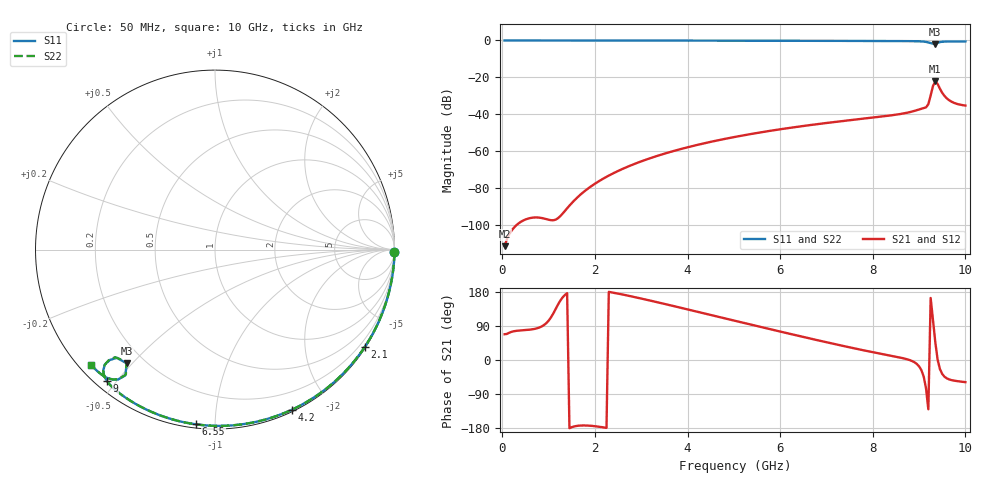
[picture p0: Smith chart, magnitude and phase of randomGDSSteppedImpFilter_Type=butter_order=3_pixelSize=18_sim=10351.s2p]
! freq	dB(S11)	phase(S11)	dB(S12)	phase(S12)
!  dB(S21)	phase(S21)	dB(S22)	phase(S22)
!S-par simulation data
#  GHz  S  DB  R 50
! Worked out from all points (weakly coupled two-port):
!   200 points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, 50 MHz to 10 GHz, reference 50 ohm
!   highest |S21| = -22.14 dB at 9.35 GHz (marker M1); lowest = -111.3 dB at 50 MHz (marker M2)
!   lowest |S11| = -1.9 dB at 9.35 GHz (marker M3), VSWR 9.11, Z = 6.79 - j24.1 ohm
!   |S11| at or under -10 dB: nowhere
!   |S22| runs from -2.0 to 0.0 dB; largest |S21 - S12| = 0
!   S11 on the Smith chart (normalised r, x): 50 MHz: open; 2.1 GHz: 0.03, -3.37; 4.2 GHz: 0.02, -1.59; 6.55 GHz: 0.02, -0.90; 9 GHz: 0.03, -0.47; 10 GHz: 0.03, -0.39
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0.05  -0.00 -0.8  -111.34 68.0  -111.34 68.0  -0.00 -0.8
0.9  -0.02 -14.4  -96.36 92.2  -96.36 92.2  -0.02 -14.4
1.75  -0.04 -27.7  -82.12 -172.7  -82.12 -172.7  -0.04 -27.7
1.85  -0.04 -29.2  -80.17 -173.1  -80.17 -173.1  -0.04 -29.2
2.1  -0.04 -33.1  -75.97 -176.3  -75.97 -176.3  -0.04 -33.1
2.65  -0.05 -41.4  -68.94 171.5  -68.94 171.5  -0.05 -41.4
3.4  -0.07 -52.6  -62.05 151.0  -62.05 151.0  -0.07 -52.6
4.2  -0.09 -64.2  -56.59 127.7  -56.59 127.7  -0.09 -64.2
5.05  -0.12 -76.1  -52.09 102.7  -52.09 102.7  -0.12 -76.1
6.55  -0.18 -96.2  -46.12 59.4  -46.12 59.4  -0.18 -96.2
6.7  -0.19 -98.1  -45.62 55.2  -45.62 55.2  -0.19 -98.1
8.35  -0.31 -119.3  -40.70 12.2  -40.70 12.2  -0.31 -119.3
9  -0.46 -129.3  -37.35 -16.8  -37.35 -16.8  -0.45 -129.2
9.15  -0.78 -132.9  -36.22 -75.0  -36.22 -75.0  -0.75 -132.8
9.2  -1.07 -133.8  -34.52 -130.1  -34.52 -130.1  -1.01 -133.8
9.3  -1.79 -132.2  -24.68 105.0  -24.68 105.0  -1.75 -132.9
9.35  -1.92 -127.8  -22.14 47.2  -22.14 47.2  -1.98 -128.3
9.4  -1.30 -125.5  -23.54 1.2  -23.54 1.2  -1.36 -125.5
9.45  -0.88 -126.7  -26.15 -23.9  -26.15 -23.9  -0.92 -126.7
9.6  -0.57 -130.7  -31.38 -48.5  -31.38 -48.5  -0.58 -130.6
9.75  -0.52 -133.4  -33.73 -54.4  -33.73 -54.4  -0.52 -133.4
10  -0.51 -137.1  -35.24 -58.5  -35.24 -58.5  -0.51 -137.1
